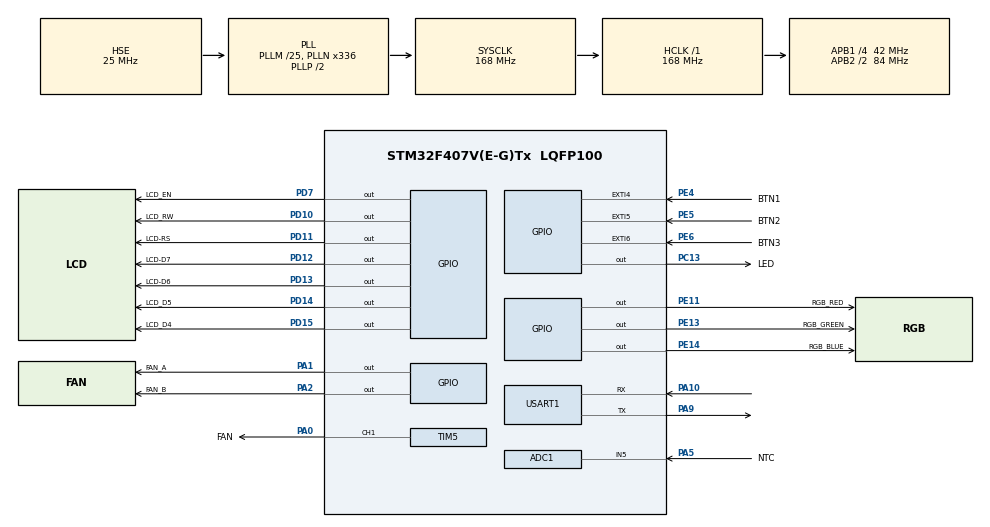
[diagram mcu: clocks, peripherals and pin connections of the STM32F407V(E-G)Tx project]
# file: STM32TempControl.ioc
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ADC1.Channel-0\#ChannelRegularConversion=ADC_CHANNEL_5
ADC1.ContinuousConvMode=ENABLE
ADC1.DMAContinuousRequests=DISABLE
ADC1.NbrOfConversion=1
ADC1.NbrOfConversionFlag=1
ADC1.Rank-0\#ChannelRegularConversion=1
ADC1.SamplingTime-0\#ChannelRegularConversion=ADC_SAMPLETIME_3CYCLES
ADC1.master=1
Dma.ADC1.2.Direction=DMA_PERIPH_TO_MEMORY
Dma.ADC1.2.FIFOMode=DMA_FIFOMODE_DISABLE
Dma.ADC1.2.Instance=DMA2_Stream0
Dma.ADC1.2.MemDataAlignment=DMA_MDATAALIGN_HALFWORD
Dma.ADC1.2.MemInc=DMA_MINC_ENABLE
Dma.ADC1.2.Mode=DMA_CIRCULAR
Dma.ADC1.2.PeriphDataAlignment=DMA_PDATAALIGN_HALFWORD
Dma.ADC1.2.PeriphInc=DMA_PINC_DISABLE
Dma.ADC1.2.Priority=DMA_PRIORITY_HIGH
Dma.Request0=USART1_RX
Dma.Request1=USART1_TX
Dma.Request2=ADC1
Dma.USART1_RX.0.Direction=DMA_PERIPH_TO_MEMORY
Dma.USART1_RX.0.FIFOMode=DMA_FIFOMODE_DISABLE
Dma.USART1_RX.0.Instance=DMA2_Stream2
Dma.USART1_RX.0.MemDataAlignment=DMA_MDATAALIGN_BYTE
Dma.USART1_RX.0.MemInc=DMA_MINC_ENABLE
Dma.USART1_RX.0.Mode=DMA_CIRCULAR
Dma.USART1_RX.0.PeriphDataAlignment=DMA_PDATAALIGN_BYTE
Dma.USART1_RX.0.PeriphInc=DMA_PINC_DISABLE
Dma.USART1_RX.0.Priority=DMA_PRIORITY_LOW
Dma.USART1_TX.1.Direction=DMA_MEMORY_TO_PERIPH
Dma.USART1_TX.1.FIFOMode=DMA_FIFOMODE_DISABLE
Dma.USART1_TX.1.Instance=DMA2_Stream7
Dma.USART1_TX.1.MemDataAlignment=DMA_MDATAALIGN_BYTE
Dma.USART1_TX.1.MemInc=DMA_MINC_ENABLE
Dma.USART1_TX.1.Mode=DMA_NORMAL
Dma.USART1_TX.1.PeriphDataAlignment=DMA_PDATAALIGN_BYTE
Dma.USART1_TX.1.PeriphInc=DMA_PINC_DISABLE
Dma.USART1_TX.1.Priority=DMA_PRIORITY_LOW
FREERTOS.Tasks01=defaultTask,24,128,StartDefaultTask,Default,NULL,Dynamic,NULL,NULL
FREERTOS.configTOTAL_HEAP_SIZE=55000
FREERTOS.configUSE_NEWLIB_REENTRANT=1
IWDG.Prescaler=IWDG_PRESCALER_16
Mcu.Family=STM32F4
Mcu.Name=STM32F407V(E-G)Tx
Mcu.Package=LQFP100
NVIC.DMA2_Stream0_IRQn=true\:5\:0\:false\:false\:true\:true\:false\:true\:true
NVIC.DMA2_Stream2_IRQn=true\:5\:0\:false\:false\:true\:true\:false\:true\:true
NVIC.DMA2_Stream7_IRQn=true\:5\:0\:false\:false\:true\:true\:false\:true\:true
NVIC.EXTI4_IRQn=true\:5\:0\:false\:false\:true\:true\:true\:true\:true
NVIC.EXTI9_5_IRQn=true\:5\:0\:false\:false\:true\:true\:true\:true\:true
NVIC.PriorityGroup=NVIC_PRIORITYGROUP_4
NVIC.TIM1_UP_TIM10_IRQn=true\:15\:0\:false\:false\:true\:false\:false\:true\:true
NVIC.TimeBase=TIM1_UP_TIM10_IRQn
NVIC.TimeBaseIP=TIM1
NVIC.USART1_IRQn=true\:5\:0\:false\:false\:true\:true\:true\:true\:true
PA0-WKUP.GPIO_Label=FAN
PA0-WKUP.Signal=S_TIM5_CH1
PA1.GPIO_Label=FAN_A
PA1.Signal=GPIO_Output
PA10.Mode=Asynchronous
PA10.Signal=USART1_RX
PA13.Mode=Serial_Wire
PA13.Signal=SYS_JTMS-SWDIO
PA14.Mode=Serial_Wire
PA14.Signal=SYS_JTCK-SWCLK
PA2.GPIO_Label=FAN_B
PA2.Signal=GPIO_Output
PA5.GPIO_Label=NTC
PA5.Signal=ADCx_IN5
PA9.Mode=Asynchronous
PA9.Signal=USART1_TX
PC13-ANTI_TAMP.GPIO_Label=LED
PC13-ANTI_TAMP.PinState=GPIO_PIN_SET
PC13-ANTI_TAMP.Signal=GPIO_Output
PC14-OSC32_IN.Mode=LSE-External-Oscillator
PC14-OSC32_IN.Signal=RCC_OSC32_IN
PC15-OSC32_OUT.Mode=LSE-External-Oscillator
PC15-OSC32_OUT.Signal=RCC_OSC32_OUT
PD10.GPIO_Label=LCD_RW
PD10.Signal=GPIO_Output
PD11.GPIO_Label=LCD-RS
PD11.Signal=GPIO_Output
PD12.GPIO_Label=LCD-D7
PD12.Signal=GPIO_Output
PD13.GPIO_Label=LCD-D6
PD13.Signal=GPIO_Output
PD14.GPIO_Label=LCD_D5
PD14.Signal=GPIO_Output
PD15.GPIO_Label=LCD_D4
PD15.Signal=GPIO_Output
PD7.GPIO_Label=LCD_EN
PD7.Signal=GPIO_Output
PE11.GPIO_Label=RGB_RED
PE11.PinState=GPIO_PIN_SET
PE11.Signal=GPIO_Output
PE13.GPIO_Label=RGB_GREEN
PE13.PinState=GPIO_PIN_SET
PE13.Signal=GPIO_Output
PE14.GPIO_Label=RGB_BLUE
PE14.PinState=GPIO_PIN_SET
PE14.Signal=GPIO_Output
PE4.GPIO_Label=BTN1
PE4.Signal=GPXTI4
PE5.GPIO_Label=BTN2
PE5.Signal=GPXTI5
PE6.GPIO_Label=BTN3
PE6.Signal=GPXTI6
PH0-OSC_IN.Mode=HSE-External-Oscillator
PH0-OSC_IN.Signal=RCC_OSC_IN
PH1-OSC_OUT.Mode=HSE-External-Oscillator
PH1-OSC_OUT.Signal=RCC_OSC_OUT
ProjectManager.HeapSize=0x200
ProjectManager.StackSize=0x400
ProjectManager.TargetToolchain=CMake
RCC.48MHZClocksFreq_Value=84000000
RCC.AHBFreq_Value=168000000
RCC.APB1CLKDivider=RCC_HCLK_DIV4
RCC.APB1Freq_Value=42000000
RCC.APB1TimFreq_Value=84000000
RCC.APB2CLKDivider=RCC_HCLK_DIV2
RCC.APB2Freq_Value=84000000
RCC.APB2TimFreq_Value=168000000
RCC.CortexFreq_Value=168000000
RCC.EnbaleCSS=true
RCC.HCLKFreq_Value=168000000
RCC.HSE_VALUE=25000000
RCC.HSI_VALUE=16000000
RCC.PLLM=25
RCC.PLLN=336
RCC.PLLSourceVirtual=RCC_PLLSOURCE_HSE
RCC.SYSCLKFreq_VALUE=168000000
RCC.SYSCLKSource=RCC_SYSCLKSOURCE_PLLCLK
RCC.VCOOutputFreq_Value=336000000
SH.ADCx_IN5.0=ADC1_IN5,IN5
SH.S_TIM5_CH1.0=TIM5_CH1,PWM Generation1 CH1
TIM5.Channel-PWM\ Generation1\ CH1=TIM_CHANNEL_1
TIM5.Period=100-1
TIM5.Prescaler=83
USART1.VirtualMode=VM_ASYNC
VP_FREERTOS_VS_CMSIS_V2.Mode=CMSIS_V2
VP_IWDG_VS_IWDG.Mode=IWDG_Activate
VP_SYS_VS_tim1.Mode=TIM1
VP_TIM5_VS_ClockSourceINT.Mode=Internal
board=custom

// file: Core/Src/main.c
/* USER CODE BEGIN Header */
/**
  ******************************************************************************
  * @file           : main.c
  * @brief          : Main program body
  ******************************************************************************
  * @attention
  *
  * Copyright (c) 2026 STMicroelectronics.
  * All rights reserved.
  *
  * This software is licensed under terms that can be found in the LICENSE file
  * in the root directory of this software component.
  * If no LICENSE file comes with this software, it is provided AS-IS.
  *
  ******************************************************************************
  */
/* USER CODE END Header */
#include "main.h"
#include "cmsis_os.h"
#include "adc.h"
#include "dma.h"
#include "iwdg.h"
#include "tim.h"
#include "usart.h"
#include "gpio.h"

/* USER CODE BEGIN Includes */

//TO DO : HEATER.c and BTNS

#include "../App/Include/lcd.h"
#include "../App/Include/sensor.h"
#include "../Library/ALCD.h"
#include "../App/Include/fan.h"
#include "../App/Include/cli.h"
/* USER CODE END Includes */

void SystemClock_Config(void);
void MX_FREERTOS_Init(void);

int main(void)
{

  /* MCU Configuration--------------------------------------------------------*/

  /* Reset of all peripherals, Initializes the Flash interface and the Systick. */
  HAL_Init();

  /* Configure the system clock */
  SystemClock_Config();

  /* Initialize all configured peripherals */
  MX_GPIO_Init();
  MX_DMA_Init();
  MX_ADC1_Init();
  MX_TIM5_Init();
  MX_USART1_UART_Init();
  MX_IWDG_Init();
  /* USER CODE BEGIN 2 */
  LCD_Init();
  Sensor_Init();
  Fan_Init();
  cli_init();
  Change_State(Normal);
  /* USER CODE END 2 */

  /* Init scheduler */
  osKernelInitialize();  /* Call init function for freertos objects (in cmsis_os2.c) */
  MX_FREERTOS_Init();

  /* Start scheduler */
  osKernelStart();

  /* We should never get here as control is now taken by the scheduler */

  /* Infinite loop */
  /* USER CODE BEGIN WHILE */
  while (1)
  {

    //HAL_GPIO_TogglePin(LED_GPIO_Port , GPIO_PIN_13);
    /* USER CODE END WHILE */

  }
}

void SystemClock_Config(void)
{
  RCC_OscInitTypeDef RCC_OscInitStruct = {0};
  RCC_ClkInitTypeDef RCC_ClkInitStruct = {0};

  /** Configure the main internal regulator output voltage
  */
  __HAL_RCC_PWR_CLK_ENABLE();
  __HAL_PWR_VOLTAGESCALING_CONFIG(PWR_REGULATOR_VOLTAGE_SCALE1);

  /** Initializes the RCC Oscillators according to the specified parameters
  * in the RCC_OscInitTypeDef structure.
  */
  RCC_OscInitStruct.OscillatorType = RCC_OSCILLATORTYPE_LSI|RCC_OSCILLATORTYPE_HSE;
  RCC_OscInitStruct.HSEState = RCC_HSE_ON;
  RCC_OscInitStruct.LSIState = RCC_LSI_ON;
  RCC_OscInitStruct.PLL.PLLState = RCC_PLL_ON;
  RCC_OscInitStruct.PLL.PLLSource = RCC_PLLSOURCE_HSE;
  RCC_OscInitStruct.PLL.PLLM = 25;
  RCC_OscInitStruct.PLL.PLLN = 336;
  RCC_OscInitStruct.PLL.PLLP = RCC_PLLP_DIV2;
  RCC_OscInitStruct.PLL.PLLQ = 4;
  if (HAL_RCC_OscConfig(&RCC_OscInitStruct) != HAL_OK)
  {
    Error_Handler();
  }

  /** Initializes the CPU, AHB and APB buses clocks
  */
  RCC_ClkInitStruct.ClockType = RCC_CLOCKTYPE_HCLK|RCC_CLOCKTYPE_SYSCLK
                              |RCC_CLOCKTYPE_PCLK1|RCC_CLOCKTYPE_PCLK2;
  RCC_ClkInitStruct.SYSCLKSource = RCC_SYSCLKSOURCE_PLLCLK;
  RCC_ClkInitStruct.AHBCLKDivider = RCC_SYSCLK_DIV1;
  RCC_ClkInitStruct.APB1CLKDivider = RCC_HCLK_DIV4;
  RCC_ClkInitStruct.APB2CLKDivider = RCC_HCLK_DIV2;

  if (HAL_RCC_ClockConfig(&RCC_ClkInitStruct, FLASH_LATENCY_5) != HAL_OK)
  {
    Error_Handler();
  }

  /** Enables the Clock Security System
  */
  HAL_RCC_EnableCSS();
}

void HAL_TIM_PeriodElapsedCallback(TIM_HandleTypeDef *htim)
{
  if (htim->Instance == TIM1)
  {
    HAL_IncTick();
  }
}

void Error_Handler(void)
{
  /* USER CODE BEGIN Error_Handler_Debug */
  Change_State(Error);
  /* User can add his own implementation to report the HAL error return state */
  __disable_irq();
  while (1)
  {
  }
  /* USER CODE END Error_Handler_Debug */
}

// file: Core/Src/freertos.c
/* USER CODE BEGIN Header */
/**
  ******************************************************************************
  * File Name          : freertos.c
  * Description        : Code for freertos applications
  ******************************************************************************
  * @attention
  *
  * Copyright (c) 2026 STMicroelectronics.
  * All rights reserved.
  *
  * This software is licensed under terms that can be found in the LICENSE file
  * in the root directory of this software component.
  * If no LICENSE file comes with this software, it is provided AS-IS.
  *
  ******************************************************************************
  */
/* USER CODE END Header */

#include "FreeRTOS.h"
#include "task.h"
#include "main.h"
#include "cmsis_os.h"

/* USER CODE BEGIN Includes */
#include "../App/Include/cli.h"
#include "../App/Include/fan.h"
#include "../App/Include/heater.h"
#include "../App/Include/sensor.h"
#include "../App/Include/lcd.h"
#include "../App/Include/status.h"
#include "gpio.h"

/* USER CODE END Includes */

/* USER CODE BEGIN PD */
#define DEBOUNCE_TIMER_TICK 500
/* USER CODE END PD */

/* USER CODE BEGIN Variables */
osThreadId_t sensorTaskHandle;
osThreadId_t lcdTaskHandle;
osThreadId_t cliTaskHandle;
osThreadId_t fanTaskHandle;
osThreadId_t heaterTaskHandle;
osThreadId_t statusTaskHandle;

osTimerId_t DebounceTimer;;

const osThreadAttr_t sensorTask_attributes = {
  .name = "temp sensor task",
  .stack_size = 2048,
  .priority = osPriorityNormal,
};

const osThreadAttr_t lcdTask_attributes = {
  .name = "character lcd task",
  .stack_size = 2048,
  .priority = osPriorityNormal,
};

const osThreadAttr_t cliTask_attributes = {
  .name = "uart cli task",
  .stack_size = 4096,
  .priority = osPriorityNormal,
};

const osThreadAttr_t fanTask_attributes = {
  .name = "fan controller task",
  .stack_size = 1024,
  .priority = osPriorityNormal,
};

const osThreadAttr_t heaterTask_attributes = {
  .name = "heater controller task",
  .stack_size = 1024,
  .priority = osPriorityNormal,
};

const osThreadAttr_t statusTask_attributes = {
  .name = "task for system wide status and control",
  .stack_size = 2048,
  .priority = osPriorityNormal,
};

/* USER CODE END Variables */
/* Definitions for defaultTask */
osThreadId_t defaultTaskHandle;
const osThreadAttr_t defaultTask_attributes = {
  .name = "defaultTask",
  .stack_size = 128 * 4,
  .priority = (osPriority_t) osPriorityNormal,
};

/* USER CODE BEGIN FunctionPrototypes */
void TimerCallback(void *argument);
/* USER CODE END FunctionPrototypes */

void StartDefaultTask(void *argument);

void MX_FREERTOS_Init(void); /* (MISRA C 2004 rule 8.1) */

void MX_FREERTOS_Init(void) {

  /* USER CODE BEGIN RTOS_SEMAPHORES */
  /* add semaphores, ... */
  BTN_DEBOUNCE_SEM = osSemaphoreNew(1, 0, NULL);
  /* USER CODE END RTOS_SEMAPHORES */

  /* USER CODE BEGIN RTOS_TIMERS */
   DebounceTimer = osTimerNew(TimerCallback, osTimerOnce, NULL, NULL);
  /* start timers, add new ones, ... */
  /* USER CODE END RTOS_TIMERS */

  /* Create the thread(s) */
  /* creation of defaultTask */
  defaultTaskHandle = osThreadNew(StartDefaultTask, NULL, &defaultTask_attributes);

  /* USER CODE BEGIN RTOS_THREADS */

  sensorTaskHandle = osThreadNew(StartSensorTask, NULL, &sensorTask_attributes);
  heaterTaskHandle = osThreadNew(StartHeaterTask, NULL, &heaterTask_attributes);
  lcdTaskHandle = osThreadNew(StartLcdTask, NULL, &lcdTask_attributes);
  cliTaskHandle = osThreadNew(StartCliTask, NULL, &cliTask_attributes);
  fanTaskHandle = osThreadNew(StartFanTask, NULL, &fanTask_attributes);
  statusTaskHandle = osThreadNew(StartStatusTask, NULL, &statusTask_attributes);
  /* USER CODE END RTOS_THREADS */

}

void StartDefaultTask(void *argument)
{
  /* USER CODE BEGIN StartDefaultTask */
  /* Infinite loop */
  for(;;)
  {

    osSemaphoreAcquire(BTN_DEBOUNCE_SEM, osWaitForever);
    DebounceActive = 1 ;
    osTimerStart(DebounceTimer , DEBOUNCE_TIMER_TICK);
    check_buttons();
  }
  /* USER CODE END StartDefaultTask */
}

/* USER CODE BEGIN Application */

void TimerCallback(void *argument)
{
  DebounceActive = 0;

}

/* USER CODE END Application */
